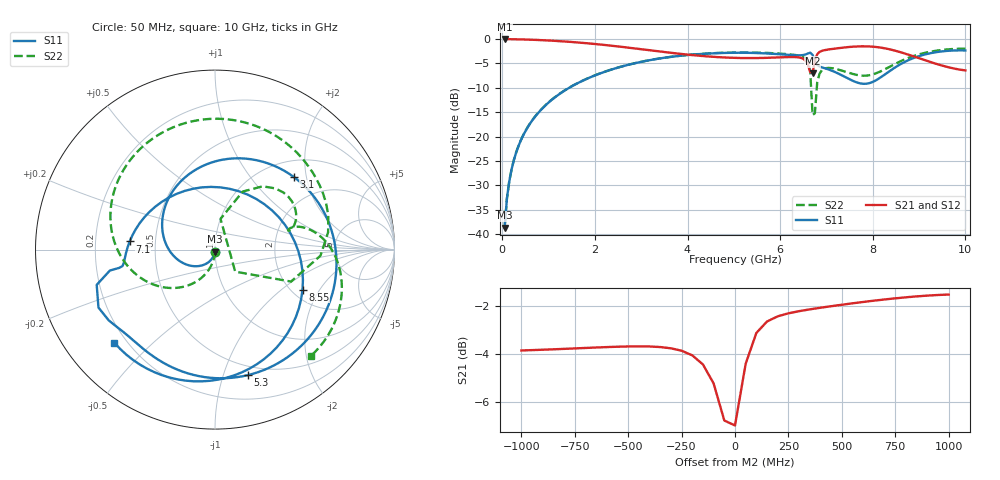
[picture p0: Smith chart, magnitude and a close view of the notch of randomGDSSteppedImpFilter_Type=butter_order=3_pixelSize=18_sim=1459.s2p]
! freq	dB(S11)	phase(S11)	dB(S12)	phase(S12)
!  dB(S21)	phase(S21)	dB(S22)	phase(S22)
!S-par simulation data
#  GHz  S  DB  R 50
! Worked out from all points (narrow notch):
!   200 points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, 50 MHz to 10 GHz, reference 50 ohm
!   highest |S21| = -0.01 dB at 50 MHz (marker M1); lowest = -7.0 dB at 6.7 GHz (marker M2)
!   notch at M2: 4.5 dB deep, 173 MHz wide at half that depth
!   lowest |S11| = -38.7 dB at 50 MHz (marker M3), VSWR 1.02, Z = 49.9 - j1.16 ohm
!   |S11| at or under -10 dB: start of sweep to 1.442 GHz
!   |S22| runs from -38.6 to -2.0 dB; largest |S21 - S12| = 0
!   S11 on the Smith chart (normalised r, x): 50 MHz: 1.00, -0.02; 3.1 GHz: 1.35, +1.70; 5.3 GHz: 0.41, -1.21; 7.1 GHz: 0.35, +0.04; 8.55 GHz: 2.28, -1.43; 10 GHz: 0.15, -0.38
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0.05  -38.65 -93.3  -0.01 -2.8  -0.01 -2.8  -38.62 -91.0
0.2  -26.73 -105.7  -0.03 -11.1  -0.03 -11.1  -26.69 -96.6
0.5  -18.86 -129.4  -0.09 -27.6  -0.09 -27.6  -18.83 -106.8
1.15  -11.84 -179.6  -0.37 -63.1  -0.37 -63.1  -11.81 -128.0
1.75  -8.47 135.3  -0.79 -95.4  -0.79 -95.4  -8.45 -147.6
2.45  -5.98 85.3  -1.46 -132.2  -1.46 -132.2  -5.97 -171.1
3.1  -4.47 42.5  -2.20 -165.0  -2.20 -165.0  -4.46 166.2
3.4  -3.97 24.1  -2.55 -179.7  -2.55 -179.7  -3.97 155.4
4.15  -3.15 -18.1  -3.33 145.1  -3.33 145.1  -3.14 127.8
5.05  -2.81 -63.3  -3.86 104.5  -3.86 104.5  -2.75 92.9
5.3  -2.82 -75.3  -3.90 93.2  -3.90 93.2  -2.75 82.7
6.5  -3.27 -137.9  -4.06 30.3  -4.06 30.3  -3.62 16.8
6.65  -2.79 -153.6  -6.80 24.8  -6.80 24.8  -6.75 -22.8
6.7  -3.25 -163.4  -7.01 42.4  -7.01 42.4  -15.57 -47.5
6.75  -4.48 -168.8  -4.41 45.9  -4.41 45.9  -15.19 79.8
6.8  -5.29 -169.2  -3.12 38.5  -3.12 38.5  -8.92 64.5
7.1  -6.42 174.5  -2.06 9.8  -2.06 9.8  -5.95 28.8
7.75  -9.12 93.6  -1.49 -36.4  -1.49 -36.4  -7.48 14.4
8.35  -6.66 -1.2  -2.07 -81.2  -2.07 -81.2  -5.75 13.6
8.55  -5.42 -24.6  -2.56 -95.6  -2.56 -95.6  -4.77 8.7
9.25  -2.89 -85.1  -4.72 -140.7  -4.72 -140.7  -2.58 -18.1
10  -2.34 -137.3  -6.42 176.2  -6.42 176.2  -1.96 -48.1
